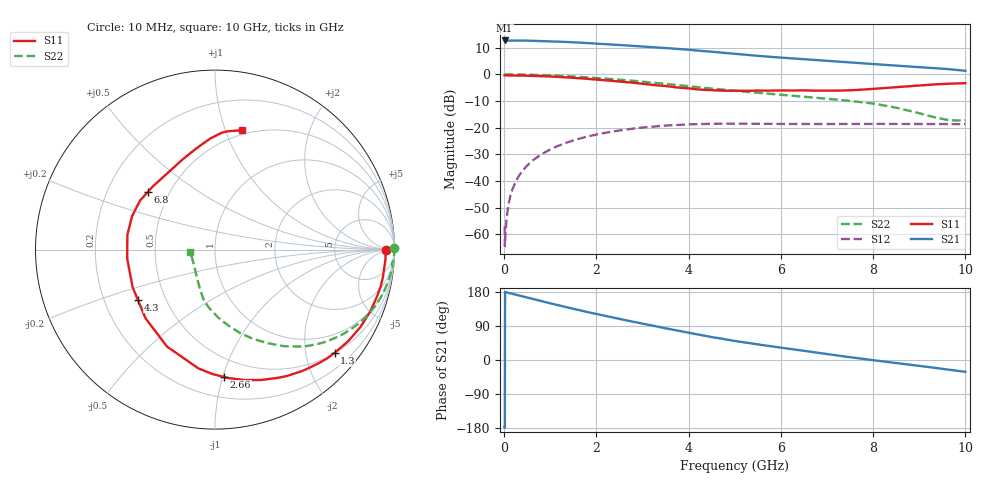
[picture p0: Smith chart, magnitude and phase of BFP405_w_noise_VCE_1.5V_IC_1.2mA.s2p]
! Infineon Technologies  Discrete & RF Semiconductors
! BFP405
! VCE =  1.5 V,  IC =  1.2 mA
! Common Emitter S-Parameters:  Jan 2016
# GHz  S  MA  R  50
!  f  S11  S21  S12  S22
! GHz  MAG  ANG  MAG  ANG  MAG  ANG  MAG  ANG
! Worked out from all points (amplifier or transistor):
!   233 points, 10 MHz to 10 GHz, reference 50 ohm
!   highest |S21| = 12.7 dB at 10 MHz (marker M1)
!   |S21| within 3 dB of that: start of sweep to 3.628 GHz
!   unconditionally stable (mu >= 1): 14.72 MHz to 15.22 MHz; 4.938 GHz to end of sweep
!   at 200 MHz: K = 0.01, MSG = 27.4 dB, |S12| = -42.3 dB
!   at 1.74 GHz: K = 0.25, MSG = 17.7 dB, |S12| = -23.6 dB
!   at 10 GHz: K = 1.94, MAG = 4.4 dB, |S12| = -18.7 dB
!   lowest NFmin = 0.75 dB at 900 MHz
!   S11 on the Smith chart (normalised r, x): 10 MHz: 41, -4; 1.3 GHz: 0.51, -2.60; 2.66 GHz: 0.35, -1.01; 4.3 GHz: 0.35, -0.26; 6.8 GHz: 0.38, +0.32; 10 GHz: 0.46, +1.14
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0.01  0.953 -0.3  4.303 -177.0  0.0014 -39.9  1 0.6
0.015  0.9529 -0.3  4.279 -178.8  0.0006 -9.9  0.9974 0.4
0.02  0.9529 -0.3  4.259 179.3  0.0007 78.9  0.9949 0.1
0.03  0.952 -0.8  4.256 179.1  0.0011 84.8  0.9959 -0.1
0.055  0.9504 -1.8  4.252 178.6  0.002 89.0  0.998 -0.7
0.125  0.9506 -3.8  4.28 176.2  0.0049 87.6  0.9974 -2.2
0.24  0.9472 -7.3  4.294 172.7  0.0093 86.2  0.9892 -4.4
0.36  0.9463 -11.1  4.272 169.2  0.014 84.2  0.9905 -6.4
0.8  0.9239 -25.0  4.212 155.7  0.0312 76.3  0.9686 -14.2
1.3  0.8802 -40.8  4.051 140.9  0.0503 66.8  0.9274 -22.8
1.68  0.8366 -53.2  3.902 130.1  0.0638 59.4  0.8879 -28.9
2.2  0.7713 -70.4  3.672 116.2  0.0802 49.7  0.8287 -36.6
2.66  0.7109 -86.0  3.467 104.5  0.0925 41.4  0.7717 -43.1
3.4  0.6106 -112.4  3.147 86.2  0.1074 28.5  0.6737 -53.1
4  0.5443 -135.3  2.885 71.7  0.1151 19.1  0.5966 -60.8
4.3  0.5126 -147.1  2.732 65.2  0.1167 14.8  0.5617 -64.4
5.1  0.4898 -177.4  2.378 48.5  0.1187 4.9  0.4818 -73.6
6  0.4981 158.0  2.053 32.4  0.1173 -3.1  0.4129 -82.2
6.8  0.4934 139.6  1.834 18.9  0.1168 -8.1  0.3601 -90.1
8.4  0.5661 101.9  1.47 -6.5  0.1173 -17.4  0.2456 -108.8
9.6  0.6627 84.0  1.255 -24.9  0.1164 -22.4  0.1403 -149.9
10  0.6813 77.4  1.162 -31.3  0.1164 -23.6  0.1381 -174.8
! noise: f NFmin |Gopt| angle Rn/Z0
0.9  0.75  0.69  15  0.52
1.8  1.17  0.55  31  0.46
2.4  1.43  0.45  42  0.42
3  1.52  0.46  56  0.39
4  1.76  0.33  84  0.29
5  2.09  0.3  121  0.2
